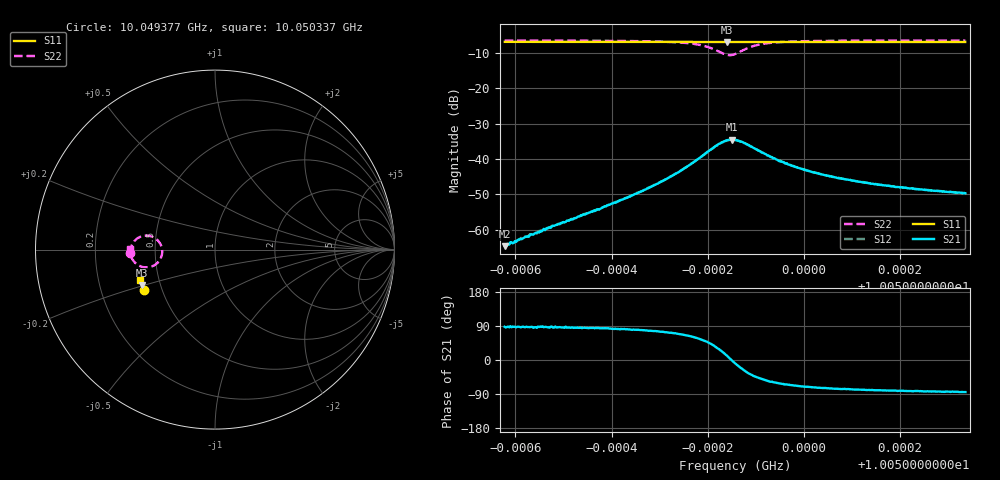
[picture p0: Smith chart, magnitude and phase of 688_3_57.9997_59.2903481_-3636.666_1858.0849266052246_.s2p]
#  HZ  S  RI  R  50.00
! Rohde & Schwarz Vector Network Analyzer
! Rohde-Schwarz,ZNB20-2Port,1311601062101988,3.16
! Created: UTC 3/21/2024, 1:21:09 AM
! freq[Hz]  re:S11  im:S11  re:S21  im:S21  re:S12  im:S12  re:S22  im:S22
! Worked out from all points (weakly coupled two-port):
!   401 points, 10.049377 GHz to 10.050337 GHz, reference 50 ohm
!   highest |S21| = -34.48 dB at 10.04985 GHz (marker M1); lowest = -64.6 dB at 10.049377 GHz (marker M2)
!   lowest |S11| = -6.9 dB at 10.04984 GHz (marker M3), VSWR 2.64, Z = 19.8 - j9.8 ohm
!   |S11| at or under -10 dB: nowhere
!   |S22| runs from -10.6 to -6.5 dB; largest |S21 - S12| = 0.0013
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1.00493774e10  -0.3942 -0.2255  2.28e-05 0.000587  -1.55e-05 0.0006  -0.4737 -0.0191
1.00494637e10  -0.3968 -0.2205  4.91e-05 0.00104  -2.05e-05 0.00102  -0.4732 -0.00928
1.00495381e10  -0.399 -0.216  0.000168 0.00159  4.89e-05 0.00161  -0.4714 0.000964
1.00495693e10  -0.3999 -0.2143  0.000184 0.00191  9.3e-05 0.00194  -0.4704 0.00605
1.00496364e10  -0.402 -0.2102  0.000485 0.0029  0.000289 0.00293  -0.4663 0.0196
1.00496988e10  -0.4038 -0.2062  0.00117 0.00446  0.000931 0.00453  -0.457 0.0378
1.00497444e10  -0.4048 -0.2033  0.00261 0.00636  0.00225 0.00653  -0.4399 0.0569
1.00497827e10  -0.4057 -0.2007  0.0058 0.00851  0.00537 0.00881  -0.4056 0.075
1.00497995e10  -0.4058 -0.1997  0.00853 0.00939  0.008 0.00955  -0.3786 0.078
1.00498163e10  -0.4059 -0.1986  0.0125 0.00873  0.012 0.00943  -0.3423 0.0683
1.00498403e10  -0.4058 -0.1974  0.0181 0.00364  0.0178 0.00464  -0.2969 0.0118
1.00498499e10  -0.406 -0.1975  0.0189 -0.000119  0.0186 0.00113  -0.2947 -0.0221
1.00498571e10  -0.406 -0.1972  0.0186 -0.0027  0.0184 -0.00152  -0.3016 -0.0464
1.00498811e10  -0.4071 -0.1965  0.0139 -0.00851  0.0143 -0.00756  -0.3532 -0.0941
1.00499147e10  -0.4087 -0.1947  0.00781 -0.0095  0.00836 -0.009  -0.4143 -0.0932
1.00499507e10  -0.41 -0.1925  0.00438 -0.00818  0.00505 -0.00809  -0.4443 -0.0745
1.00499794e10  -0.4108 -0.1907  0.00306 -0.00725  0.00354 -0.00713  -0.4559 -0.061
1.00500178e10  -0.412 -0.1882  0.00203 -0.00623  0.00242 -0.00614  -0.464 -0.0471
1.00500754e10  -0.4134 -0.1848  0.00126 -0.00518  0.00162 -0.00512  -0.4701 -0.0318
1.00501785e10  -0.4162 -0.1784  0.00069 -0.00412  0.000897 -0.00408  -0.4738 -0.0137
1.00502361e10  -0.4176 -0.1748  0.00053 -0.00372  0.000735 -0.00369  -0.4746 -0.00602
1.00503369e10  -0.4199 -0.1685  0.000307 -0.00328  0.000526 -0.00325  -0.4752 0.00532
